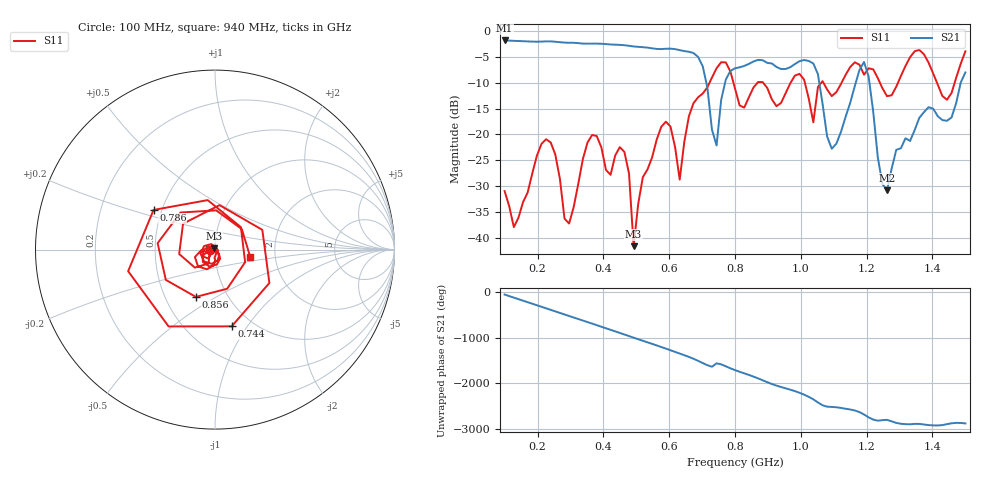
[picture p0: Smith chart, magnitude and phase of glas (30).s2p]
! NanoVNA-App
! Date: 2025-09-25 15:55:42
! Start: 100MHz Stop: 1,5GHz Points: 101
! S-Parameter data: F S11 S21 S12 S22
# Hz S RI R 50
!  Frequency  S11_Real  S11_Imag  S21_Real  S21_Imag  S12_Real  S12_Imag  S22_Real  S22_Imag
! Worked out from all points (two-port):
!   101 points, 100 MHz to 1.5 GHz, reference 50 ohm
!   highest |S21| = -1.80 dB at 100 MHz (marker M1); lowest = -30.8 dB at 1.262 GHz (marker M2)
!   |S21| within 3 dB of the highest: start of sweep to 684.3 MHz
!   lowest |S11| = -41.6 dB at 492 MHz (marker M3), VSWR 1.02, Z = 49.5 + j0.633 ohm
!   |S11| at or under -10 dB: start of sweep to 722.5 MHz; 795.3 MHz to 868 MHz (72.69 MHz wide, 8.74 % of centre); 885.8 MHz to 968.8 MHz (83 MHz wide, 8.95 % of centre)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
!   S12 and S22 are empty: the file has one direction only
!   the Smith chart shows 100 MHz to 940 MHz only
!   S11 on the Smith chart (normalised r, x): 100 MHz: 0.95, -0.01; 744 MHz: 0.80, -0.85; 786 MHz: 0.45, +0.24; 856 MHz: 0.71, -0.41; 940 MHz: 1.48, -0.14
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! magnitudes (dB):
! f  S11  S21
! 100 MHz  -31.0  -1.8
! 128 MHz  -37.9  -1.9
! 226 MHz  -20.9  -2.0
! 296 MHz  -37.2  -2.2
! 338 MHz  -24.7  -2.4
! 464 MHz  -23.4  -2.7
! 492 MHz  -41.6  -3.0
! 576 MHz  -18.5  -3.5
! 632 MHz  -28.7  -3.7
! 702 MHz  -12.1  -6.8
! 744 MHz  -7.2  -22.1
! 786 MHz  -7.8  -7.7
! 800 MHz  -11.1  -7.2
! 856 MHz  -10.9  -5.9
! 940 MHz  -13.9  -7.3
! 996 MHz  -8.3  -5.8
! 1.038 GHz  -17.6  -6.3
! 1.094 GHz  -12.6  -22.8
! 1.192 GHz  -8.4  -6.0
! 1.262 GHz  -12.6  -30.8
! 1.276 GHz  -12.4  -26.6
! 1.5 GHz  -3.9  -8.0
